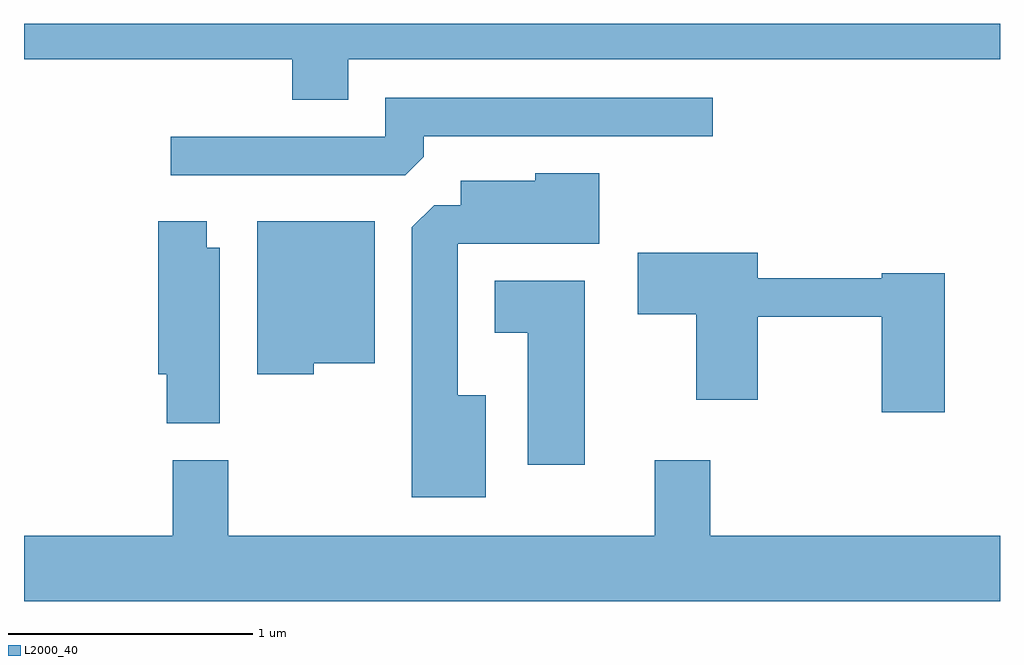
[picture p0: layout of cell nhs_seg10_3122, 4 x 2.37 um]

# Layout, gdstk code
import gdstk
lib = gdstk.Library(unit=1e-6, precision=1e-09)
def P(c, l, *ps):  # polygons
    for p in ps: c.add(gdstk.Polygon(p, *l))
L2000_40 = (2000, 40)

nhs_seg10_3122 = lib.new_cell('nhs_seg10_3122')
P(nhs_seg10_3122, L2000_40, [(278.939,2098.376),(281.611,2098.376),(281.611,2098.522),(277.611,2098.522),(277.611,2098.376),(278.711,2098.376),(278.711,2098.211),(278.939,2098.211)],
  [(279.249,2097.977),(279.249,2098.061),(280.433,2098.061),(280.433,2098.219),(279.091,2098.219),(279.091,2098.059),(278.213,2098.059),(278.213,2097.901),(279.174,2097.901)],
  [(279.504,2096.999),(279.389,2096.999),(279.389,2097.621),(279.969,2097.621),(279.969,2097.909),(279.706,2097.909),(279.706,2097.879),(279.401,2097.879),(279.401,2097.779),(279.292,2097.779),(279.201,2097.689),(279.201,2096.581),(279.504,2096.581)],
  [(278.414,2097.604),(278.359,2097.604),(278.359,2097.714),(278.161,2097.714),(278.161,2097.086),(278.196,2097.086),(278.196,2096.886),(278.414,2096.886)],
  [(278.799,2097.131),(279.049,2097.131),(279.049,2097.714),(278.566,2097.714),(278.566,2097.086),(278.799,2097.086)],
  [(281.384,2097.499),(281.126,2097.499),(281.126,2097.479),(280.619,2097.479),(280.619,2097.584),(280.126,2097.584),(280.126,2097.331),(280.366,2097.331),(280.366,2096.981),(280.619,2096.981),(280.619,2097.321),(281.126,2097.321),(281.126,2096.931),(281.384,2096.931)],
  [(279.909,2097.469),(279.541,2097.469),(279.541,2097.256),(279.676,2097.256),(279.676,2096.716),(279.909,2096.716)],
  [(281.611,2096.424),(280.424,2096.424),(280.424,2096.734),(280.196,2096.734),(280.196,2096.424),(278.449,2096.424),(278.449,2096.734),(278.221,2096.734),(278.221,2096.424),(277.611,2096.424),(277.611,2096.156),(281.611,2096.156)])

lib.write_gds('nhs_seg10_3122.gds')
